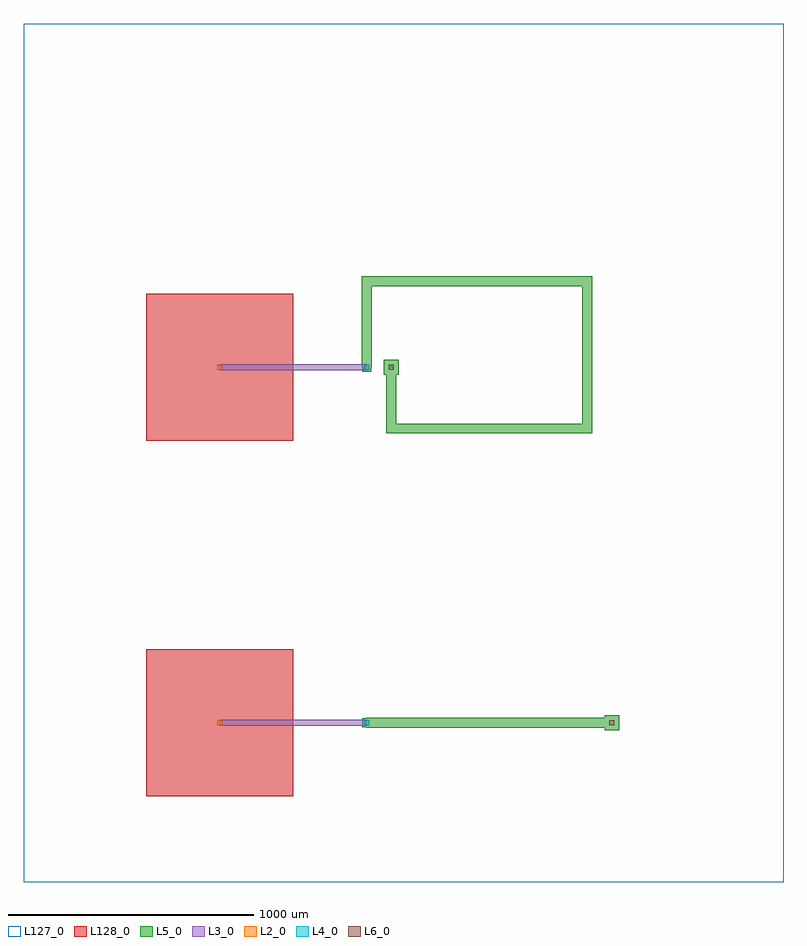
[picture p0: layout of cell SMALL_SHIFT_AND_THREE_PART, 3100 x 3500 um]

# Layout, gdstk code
import gdstk
lib = gdstk.Library(unit=1e-6, precision=1e-09)
def R(c, l, rs):  # rectangles x0, y0, x1, y1
    for r in rs: c.add(gdstk.rectangle(r[:2], r[2:], *l))
def P(c, l, *ps):  # polygons
    for p in ps: c.add(gdstk.Polygon(p, *l))
L2_0 = (2, 0)
L3_0 = (3, 0)
L4_0 = (4, 0)
L5_0 = (5, 0)
L6_0 = (6, 0)
L127_0 = (127, 0)
L128_0 = (128, 0)

small_shift_and_three_pa = lib.new_cell('SMALL_SHIFT_AND_THREE_PART')
R(small_shift_and_three_pa, L2_0, [(-610,-860,-590,-840), (-610,590,-590,610)])
R(small_shift_and_three_pa, L4_0, [(-10,-860,10,-840), (-10,590,10,610)])
P(small_shift_and_three_pa, L5_0, [(1030,-820),(970,-820),(970,-830),(0,-830),(0,-832),(-18,-832),(-18,-868),(0,-868),(0,-870),(970,-870),(970,-880),(1030,-880)],
  [(920,970),(-20,970),(-20,600),(-18,600),(-18,582),(18,582),(18,600),(20,600),(20,930),(880,930),(880,370),(120,370),(120,570),(130,570),(130,630),(70,630),(70,570),(80,570),(80,330),(920,330)])
R(small_shift_and_three_pa, L6_0, [(990,-860,1010,-840), (90,590,110,610)])
R(small_shift_and_three_pa, L127_0, [(-1400,-1500,1700,2000)])
R(small_shift_and_three_pa, L128_0, [(-900,-1150,-300,-550), (-900,300,-300,900)])
small_shift_and_three_pa.add(gdstk.FlexPath([(-600,-850),(0,-850)], 24, ends="flush", simple_path=True, layer=3, datatype=0))  # L3_0
small_shift_and_three_pa.add(gdstk.FlexPath([(-600,600),(0,600)], 24, ends="flush", simple_path=True, layer=3, datatype=0))  # L3_0

lib.write_gds('SMALL_SHIFT_AND_THREE_PART.gds')
